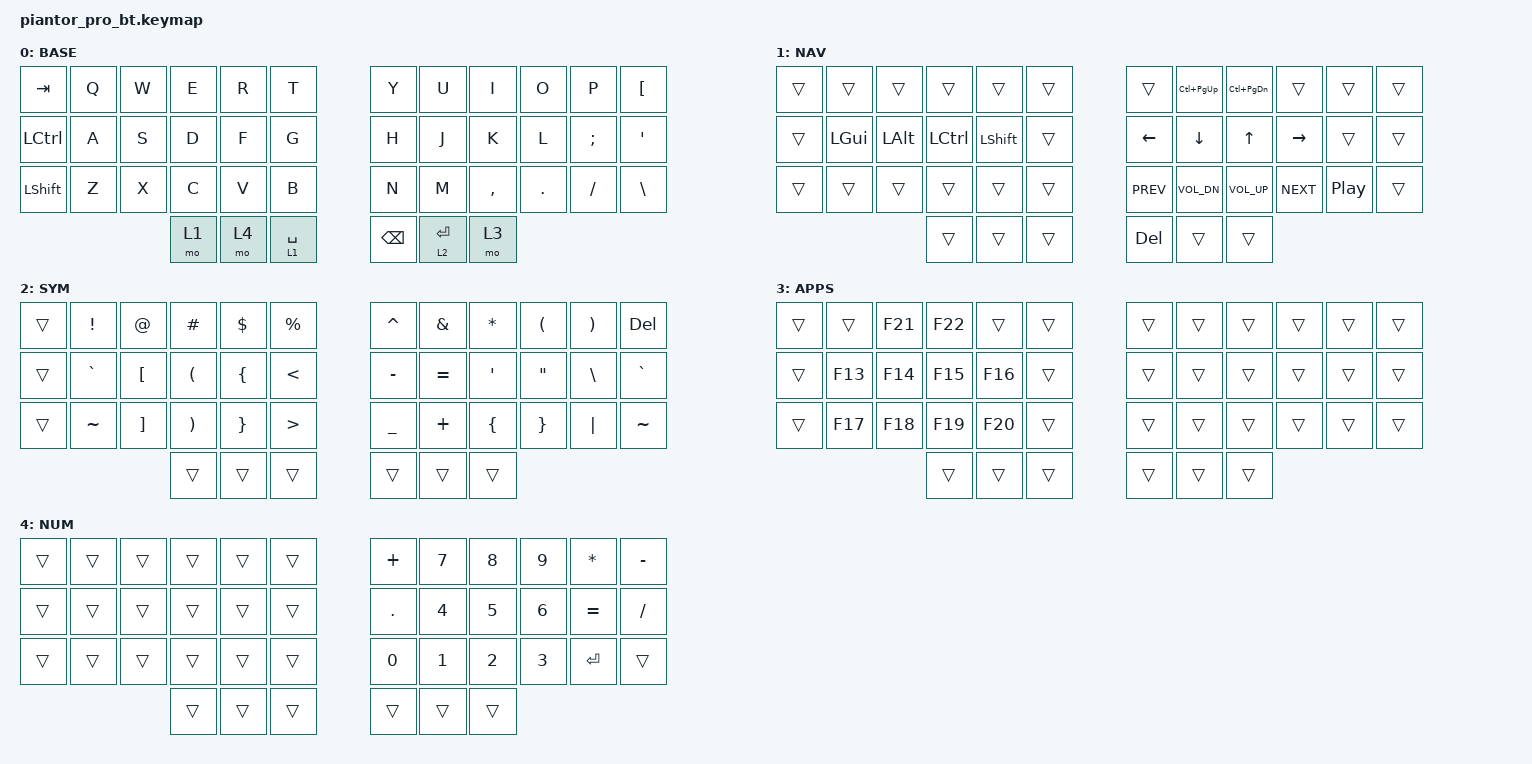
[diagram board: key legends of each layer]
/*
 * Piantor Pro BT - Hybrid App/Nav/Num/Sym Edition
 * Version 4: Removed Duplicates, Added Quotes to SYM Layer
 */

#include <behaviors.dtsi>
#include <dt-bindings/zmk/keys.h>
#include <dt-bindings/zmk/bt.h>

/ {
    keymap {
        compatible = "zmk,keymap";

        // LAYER 0: BASE (Clean QWERTY)
        default_layer {
            display-name = "BASE";
            bindings = <
    &kp TAB    &kp Q       &kp W       &kp E       &kp R       &kp T            &kp Y       &kp U       &kp I       &kp O       &kp P          &kp LBKT
    &kp LCTRL  &kp A       &kp S       &kp D       &kp F       &kp G            &kp H       &kp J       &kp K       &kp L       &kp SEMI       &kp SQT
    &kp LSHFT  &kp Z       &kp X       &kp C       &kp V       &kp B            &kp N       &kp M       &kp COMMA   &kp DOT     &kp FSLH       &kp BSLH
                               &mo 1       &mo 4       &lt 1 SPACE        &kp BSPC    &lt 2 RET   &mo 3
            >;
        };

        // LAYER 1: NAVIGATION & SYSTEM
        nav_layer {
            display-name = "NAV";
            bindings = <
    &trans     &trans      &trans      &trans      &trans      &trans           &trans      &kp LC(PG_UP) &kp LC(PG_DN) &trans    &trans    &trans
    &trans     &kp LGUI    &kp LALT    &kp LCTRL   &kp LSHFT   &trans           &kp LEFT    &kp DOWN      &kp UP        &kp RIGHT &trans    &trans
    &trans     &trans      &trans      &trans      &trans      &trans           &kp C_PREV  &kp C_VOL_DN  &kp C_VOL_UP  &kp C_NEXT &kp C_PP  &trans
                                       &trans      &trans      &trans           &kp DEL     &trans        &trans
            >;
        };

        // LAYER 2: SYMBOLS (Right Inner Thumb + Left/Right fingers)
        symbol_layer {
            display-name = "SYM";
            bindings = <
    &trans     &kp EXCL    &kp AT      &kp HASH    &kp DLLR    &kp PRCNT        &kp CARET   &kp AMPS     &kp ASTRK    &kp LPAR  &kp RPAR  &kp DEL
    &trans     &kp GRAVE   &kp LBKT    &kp LPAR    &kp LBRC    &kp LT           &kp MINUS   &kp EQUAL    &kp SQT      &kp DQT   &kp BSLH  &kp GRAVE
    &trans     &kp TILDE   &kp RBKT    &kp RPAR    &kp RBRC    &kp GT           &kp UNDER   &kp PLUS     &kp LBRC     &kp RBRC  &kp PIPE  &kp TILDE
                                       &trans      &trans      &trans           &trans      &trans       &trans
            >;
        };

        // LAYER 3: APPS (Right Outer Thumb + Left fingers)
        apps_layer {
            display-name = "APPS";
            bindings = <
    &trans     &trans      &kp F21     &kp F22     &trans      &trans           &trans      &trans      &trans      &trans      &trans    &trans
    &trans     &kp F13     &kp F14     &kp F15     &kp F16     &trans           &trans      &trans      &trans      &trans      &trans    &trans
    &trans     &kp F17     &kp F18     &kp F19     &kp F20     &trans           &trans      &trans      &trans      &trans      &trans    &trans
                                       &trans      &trans      &trans           &trans      &trans      &trans
            >;
        };

        // LAYER 4: NUMPAD (Left Middle Thumb + Right fingers)
        num_layer {
            display-name = "NUM";
            bindings = <
    &trans     &trans      &trans      &trans      &trans      &trans           &kp PLUS    &kp N7      &kp N8      &kp N9      &kp ASTRK &kp MINUS
    &trans     &trans      &trans      &trans      &trans      &trans           &kp DOT     &kp N4      &kp N5      &kp N6      &kp EQUAL &kp FSLH
    &trans     &trans      &trans      &trans      &trans      &trans           &kp N0      &kp N1      &kp N2      &kp N3      &kp RET   &trans
                                       &trans      &trans      &trans           &trans      &trans      &trans
            >;
        };
    };
};
